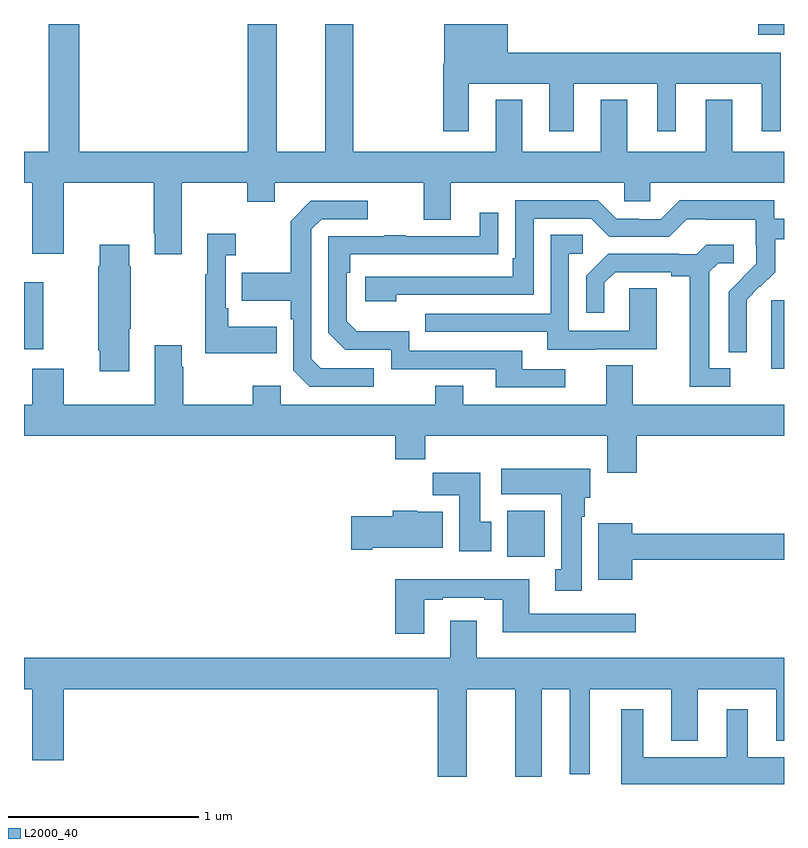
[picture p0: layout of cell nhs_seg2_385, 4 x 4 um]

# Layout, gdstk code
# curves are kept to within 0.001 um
import gdstk
lib = gdstk.Library(unit=1e-6, precision=1e-09)
def R(c, l, rs):  # rectangles x0, y0, x1, y1
    for r in rs: c.add(gdstk.rectangle(r[:2], r[2:], *l))
def P(c, l, *ps):  # polygons
    for p in ps: c.add(gdstk.Polygon(p, *l))
L2000_40 = (2000, 40)

nhs_seg2_385 = lib.new_cell('nhs_seg2_385')
R(nhs_seg2_385, L2000_40, [(131.543,650.996,131.74,651.238), (132.932,651.986,133,652.347), (129,652.089,129.102,652.441), (132.864,653.744,133,653.8)])
P(nhs_seg2_385, L2000_40, [(131.341,653.486),(131.765,653.486),(131.765,653.235),(131.893,653.235),(131.893,653.486),(132.332,653.486),(132.332,653.235),(132.43,653.235),(132.43,653.486),(132.884,653.486),(132.884,653.235),(132.982,653.235),(132.982,653.65),(131.545,653.65),(131.545,653.8),(131.213,653.8),(131.213,653.59),(131.206,653.59),(131.206,653.235),(131.341,653.235)],
  [(129.829,652.964),(130.174,652.964),(130.174,652.865),(130.321,652.865),(130.321,652.964),(131.105,652.964),(131.105,652.77),(131.245,652.77),(131.245,652.964),(132.159,652.964),(132.159,652.866),(132.297,652.866),(132.297,652.964),(133,652.964),(133,653.128),(132.727,653.128),(132.727,653.401),(132.587,653.401),(132.587,653.128),(132.175,653.128),(132.175,653.401),(132.035,653.401),(132.035,653.128),(131.623,653.128),(131.623,653.401),(131.483,653.401),(131.483,653.128),(130.733,653.128),(130.733,653.8),(130.586,653.8),(130.586,653.128),(130.33,653.128),(130.33,653.8),(130.178,653.8),(130.178,653.128),(129.29,653.128),(129.29,653.8),(129.13,653.8),(129.13,653.128),(129,653.128),(129,652.964),(129.044,652.964),(129.044,652.59),(129.208,652.59),(129.208,652.964),(129.682,652.964),(129.682,652.699),(129.689,652.699),(129.689,652.587),(129.829,652.587)],
  [(132.804,652.226),(132.803,652.349),(132.873,652.419),(132.876,652.416),(132.953,652.493),(132.953,652.668),(133,652.668),(133,652.776),(132.948,652.776),(132.948,652.873),(132.451,652.873),(132.351,652.773),(132.236,652.773),(132.236,652.776),(132.117,652.776),(132.021,652.872),(131.586,652.872),(131.586,652.567),(131.573,652.567),(131.573,652.47),(130.797,652.47),(130.797,652.34),(130.958,652.34),(130.958,652.374),(131.682,652.374),(131.682,652.776),(131.985,652.776),(132.081,652.68),(132.396,652.68),(132.489,652.773),(132.589,652.773),(132.589,652.769),(132.852,652.769),(132.852,652.635),(132.854,652.635),(132.854,652.538),(132.708,652.39),(132.708,652.072),(132.804,652.072)],
  [(130.84,651.987),(130.563,651.987),(130.512,652.038),(130.512,652.719),(130.566,652.773),(130.81,652.773),(130.81,652.869),(130.509,652.869),(130.404,652.763),(130.404,652.491),(130.147,652.491),(130.147,652.343),(130.404,652.343),(130.404,652.247),(130.416,652.247),(130.416,651.978),(130.503,651.891),(130.84,651.891)],
  [(131.848,651.984),(131.623,651.984),(131.623,652.08),(131.028,652.08),(131.028,652.183),(130.751,652.183),(130.698,652.236),(130.698,652.49),(130.718,652.49),(130.718,652.587),(131.495,652.588),(131.495,652.807),(131.399,652.807),(131.399,652.683),(131.009,652.683),(131.009,652.688),(130.897,652.688),(130.897,652.683),(130.602,652.683),(130.602,652.176),(130.692,652.086),(130.932,652.086),(130.932,651.984),(131.483,651.984),(131.483,651.888),(131.848,651.888)],
  [(130.331,652.207),(130.075,652.207),(130.075,652.303),(130.062,652.303),(130.062,652.583),(130.114,652.583),(130.114,652.696),(129.965,652.696),(129.965,652.483),(129.954,652.483),(129.954,652.067),(130.331,652.067)],
  [(132.007,652.089),(132.331,652.089),(132.331,652.409),(132.186,652.409),(132.186,652.185),(131.868,652.185),(131.868,652.59),(131.941,652.59),(131.941,652.691),(131.772,652.691),(131.772,652.275),(131.113,652.275),(131.113,652.179),(131.753,652.179),(131.753,652.085),(132.007,652.085)],
  [(129.553,652.195),(129.561,652.195),(129.561,652.526),(129.553,652.526),(129.553,652.639),(129.398,652.639),(129.398,652.526),(129.391,652.526),(129.391,652.084),(129.398,652.084),(129.398,651.972),(129.553,651.972)],
  [(132.718,651.987),(132.607,651.987),(132.607,652.495),(132.654,652.542),(132.736,652.542),(132.736,652.639),(132.592,652.639),(132.54,652.587),(132.446,652.587),(132.446,652.59),(132.074,652.59),(131.958,652.474),(131.958,652.281),(132.055,652.281),(132.055,652.437),(132.112,652.494),(132.407,652.494),(132.407,652.472),(132.503,652.472),(132.503,651.891),(132.718,651.891)],
  [(132.224,651.632),(133,651.632),(133,651.796),(132.205,651.796),(132.205,652.004),(132.065,652.004),(132.065,651.796),(131.311,651.796),(131.311,651.895),(131.164,651.895),(131.164,651.796),(130.35,651.796),(130.35,651.895),(130.204,651.895),(130.204,651.796),(129.837,651.796),(129.837,651.995),(129.829,651.995),(129.829,652.108),(129.689,652.108),(129.689,651.796),(129.208,651.796),(129.208,651.985),(129.044,651.985),(129.044,651.796),(129,651.796),(129,651.632),(130.955,651.632),(130.955,651.508),(131.111,651.508),(131.111,651.632),(132.071,651.632),(132.071,651.438),(132.224,651.438)],
  [(131.935,651.206),(131.95,651.206),(131.95,651.306),(131.98,651.306),(131.98,651.46),(131.511,651.46),(131.511,651.326),(131.828,651.326),(131.828,650.93),(131.795,650.93),(131.795,650.817),(131.935,650.817)],
  [(131.458,651.18),(131.401,651.18),(131.401,651.439),(131.152,651.439),(131.152,651.32),(131.291,651.32),(131.291,651.024),(131.458,651.024)],
  [(130.834,651.044),(131.203,651.044),(131.203,651.232),(131.07,651.232),(131.07,651.238),(130.94,651.238),(130.94,651.21),(130.722,651.21),(130.722,651.032),(130.834,651.032)],
  [(132.202,650.98),(133,650.98),(133,651.116),(132.202,651.116),(132.202,651.172),(132.023,651.172),(132.023,650.876),(132.202,650.876)],
  [(131.107,650.769),(131.203,650.769),(131.203,650.781),(131.423,650.781),(131.423,650.769),(131.519,650.769),(131.519,650.6),(132.22,650.6),(132.22,650.697),(131.659,650.697),(131.659,650.878),(130.955,650.878),(130.955,650.592),(131.107,650.592)],
  [(131.329,650.3),(131.585,650.3),(131.585,649.839),(131.725,649.839),(131.725,650.3),(131.873,650.3),(131.873,649.851),(131.977,649.851),(131.977,650.3),(132.407,650.3),(132.407,650.027),(132.547,650.027),(132.547,650.3),(132.959,650.3),(132.959,650.027),(133,650.027),(133,650.464),(131.383,650.464),(131.383,650.659),(131.243,650.659),(131.243,650.464),(129,650.464),(129,650.3),(129.044,650.3),(129.044,649.926),(129.208,649.926),(129.208,650.3),(131.177,650.3),(131.177,649.839),(131.329,649.839)],
  [(133,649.942),(132.808,649.942),(132.808,650.194),(132.698,650.194),(132.698,649.942),(132.259,649.942),(132.259,650.194),(132.143,650.194),(132.143,649.8),(133,649.8)])

lib.write_gds('nhs_seg2_385.gds')
